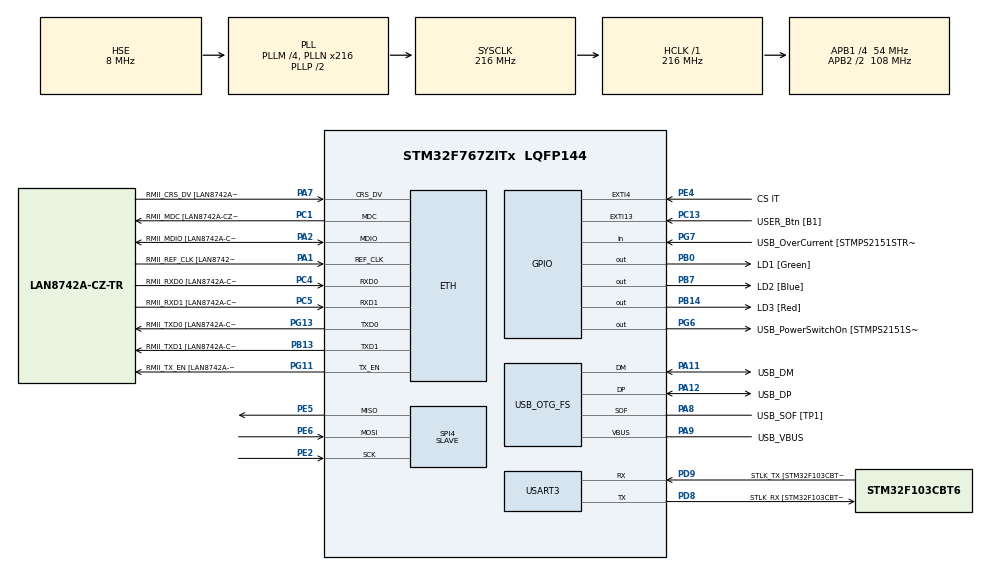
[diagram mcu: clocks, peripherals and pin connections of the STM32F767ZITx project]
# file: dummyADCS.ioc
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Dma.Request0=SPI4_RX
Dma.Request1=SPI4_TX
Dma.SPI4_RX.0.Direction=DMA_PERIPH_TO_MEMORY
Dma.SPI4_RX.0.FIFOMode=DMA_FIFOMODE_DISABLE
Dma.SPI4_RX.0.Instance=DMA2_Stream0
Dma.SPI4_RX.0.MemDataAlignment=DMA_MDATAALIGN_BYTE
Dma.SPI4_RX.0.MemInc=DMA_MINC_ENABLE
Dma.SPI4_RX.0.Mode=DMA_NORMAL
Dma.SPI4_RX.0.PeriphDataAlignment=DMA_PDATAALIGN_BYTE
Dma.SPI4_RX.0.PeriphInc=DMA_PINC_DISABLE
Dma.SPI4_RX.0.Priority=DMA_PRIORITY_HIGH
Dma.SPI4_TX.1.Direction=DMA_MEMORY_TO_PERIPH
Dma.SPI4_TX.1.FIFOMode=DMA_FIFOMODE_DISABLE
Dma.SPI4_TX.1.Instance=DMA2_Stream1
Dma.SPI4_TX.1.MemDataAlignment=DMA_MDATAALIGN_BYTE
Dma.SPI4_TX.1.MemInc=DMA_MINC_ENABLE
Dma.SPI4_TX.1.Mode=DMA_NORMAL
Dma.SPI4_TX.1.PeriphDataAlignment=DMA_PDATAALIGN_BYTE
Dma.SPI4_TX.1.PeriphInc=DMA_PINC_DISABLE
Dma.SPI4_TX.1.Priority=DMA_PRIORITY_HIGH
ETH.MediaInterface=ETH_MEDIA_INTERFACE_RMII
ETH.PHY_Name=LAN8742A_PHY_ADDRESS
ETH.PHY_Value=0
ETH.PhyAddress=0
Mcu.Family=STM32F7
Mcu.Name=STM32F767ZITx
Mcu.Package=LQFP144
NVIC.DMA2_Stream0_IRQn=true\:0\:0\:false\:false\:true\:false\:true
NVIC.DMA2_Stream1_IRQn=true\:0\:0\:false\:false\:true\:false\:true
NVIC.EXTI4_IRQn=true\:0\:0\:false\:false\:true\:true\:true
NVIC.PriorityGroup=NVIC_PRIORITYGROUP_4
NVIC.SPI4_IRQn=true\:0\:0\:false\:false\:true\:true\:true
NVIC.TIM8_TRG_COM_TIM14_IRQn=true\:0\:0\:false\:false\:true\:true\:true
NVIC.USART3_IRQn=true\:0\:0\:false\:false\:true\:true\:true
PA1.GPIO_Label=RMII_REF_CLK [LAN8742A-CZ-TR_REFCLK0]
PA1.Mode=RMII
PA1.Signal=ETH_REF_CLK
PA10.GPIO_Label=USB_ID
PA10.Signal=USB_OTG_FS_ID
PA11.GPIO_Label=USB_DM
PA11.Mode=Device_Only
PA11.Signal=USB_OTG_FS_DM
PA12.GPIO_Label=USB_DP
PA12.Mode=Device_Only
PA12.Signal=USB_OTG_FS_DP
PA13.GPIO_Label=TMS
PA13.Mode=Serial_Wire
PA13.Signal=SYS_JTMS-SWDIO
PA14.GPIO_Label=TCK
PA14.Mode=Serial_Wire
PA14.Signal=SYS_JTCK-SWCLK
PA2.GPIO_Label=RMII_MDIO [LAN8742A-CZ-TR_MDIO]
PA2.Mode=RMII
PA2.Signal=ETH_MDIO
PA7.GPIO_Label=RMII_CRS_DV [LAN8742A-CZ-TR_CRS_DV]
PA7.Mode=RMII
PA7.Signal=ETH_CRS_DV
PA8.GPIO_Label=USB_SOF [TP1]
PA8.Mode=Activate_SOF_FS
PA8.Signal=USB_OTG_FS_SOF
PA9.GPIO_Label=USB_VBUS
PA9.Mode=Activate_VBUS
PA9.Signal=USB_OTG_FS_VBUS
PB0.GPIO_Label=LD1 [Green]
PB0.Signal=GPIO_Output
PB13.GPIO_Label=RMII_TXD1 [LAN8742A-CZ-TR_TXD1]
PB13.Mode=RMII
PB13.Signal=ETH_TXD1
PB14.GPIO_Label=LD3 [Red]
PB14.Signal=GPIO_Output
PB3.GPIO_Label=SWO
PB3.Signal=SYS_JTDO-SWO
PB7.GPIO_Label=LD2 [Blue]
PB7.Signal=GPIO_Output
PC1.GPIO_Label=RMII_MDC [LAN8742A-CZ-TR_MDC]
PC1.Mode=RMII
PC1.Signal=ETH_MDC
PC13.GPIO_Label=USER_Btn [B1]
PC13.Signal=GPXTI13
PC14/OSC32_IN.Mode=LSE-External-Oscillator
PC14/OSC32_IN.Signal=RCC_OSC32_IN
PC15/OSC32_OUT.Mode=LSE-External-Oscillator
PC15/OSC32_OUT.Signal=RCC_OSC32_OUT
PC4.GPIO_Label=RMII_RXD0 [LAN8742A-CZ-TR_RXD0]
PC4.Mode=RMII
PC4.Signal=ETH_RXD0
PC5.GPIO_Label=RMII_RXD1 [LAN8742A-CZ-TR_RXD1]
PC5.Mode=RMII
PC5.Signal=ETH_RXD1
PD8.GPIO_Label=STLK_RX [STM32F103CBT6_PA3]
PD8.Mode=Asynchronous
PD8.Signal=USART3_TX
PD9.GPIO_Label=STLK_TX [STM32F103CBT6_PA2]
PD9.Mode=Asynchronous
PD9.Signal=USART3_RX
PE2.Mode=Full_Duplex_Slave
PE2.Signal=SPI4_SCK
PE4.GPIO_Label=CS IT
PE4.GPIO_ModeDefaultEXTI=GPIO_MODE_IT_FALLING
PE4.Signal=GPXTI4
PE5.Mode=Full_Duplex_Slave
PE5.Signal=SPI4_MISO
PE6.Mode=Full_Duplex_Slave
PE6.Signal=SPI4_MOSI
PG11.GPIO_Label=RMII_TX_EN [LAN8742A-CZ-TR_TXEN]
PG11.Mode=RMII
PG11.Signal=ETH_TX_EN
PG13.GPIO_Label=RMII_TXD0 [LAN8742A-CZ-TR_TXD0]
PG13.Mode=RMII
PG13.Signal=ETH_TXD0
PG6.GPIO_Label=USB_PowerSwitchOn [STMPS2151STR_EN]
PG6.Signal=GPIO_Output
PG7.GPIO_Label=USB_OverCurrent [STMPS2151STR_FAULT]
PG7.Signal=GPIO_Input
PH0/OSC_IN.GPIO_Label=MCO [STM32F103CBT6_PA8]
PH0/OSC_IN.Mode=HSE-External-Clock-Source
PH0/OSC_IN.Signal=RCC_OSC_IN
PH1/OSC_OUT.Mode=HSE-External-Clock-Source
PH1/OSC_OUT.Signal=RCC_OSC_OUT
ProjectManager.HeapSize=0x200
ProjectManager.StackSize=0x400
ProjectManager.TargetToolchain=STM32CubeIDE
RCC.48MHZClocksFreq_Value=24000000
RCC.AHBFreq_Value=216000000
RCC.APB1CLKDivider=RCC_HCLK_DIV4
RCC.APB1Freq_Value=54000000
RCC.APB1TimFreq_Value=108000000
RCC.APB2CLKDivider=RCC_HCLK_DIV2
RCC.APB2Freq_Value=108000000
RCC.APB2TimFreq_Value=216000000
RCC.CortexFreq_Value=216000000
RCC.HCLKFreq_Value=216000000
RCC.HSE_VALUE=8000000
RCC.HSI_VALUE=16000000
RCC.PLLM=4
RCC.PLLMUL=RCC_PLL_MUL9
RCC.PLLN=216
RCC.PLLQ=9
RCC.PRESCALERUSB=RCC_USBCLKSOURCE_PLL_DIV1_5
RCC.SYSCLKFreq_VALUE=216000000
RCC.SYSCLKSource=RCC_SYSCLKSOURCE_PLLCLK
RCC.SYSCLKSourceVirtual=RCC_SYSCLKSOURCE_PLLCLK
RCC.USBFreq_Value=48000000
RCC.VCOOutputFreq_Value=432000000
SPI4.DataSize=SPI_DATASIZE_8BIT
SPI4.Direction=SPI_DIRECTION_2LINES
SPI4.FirstBit=SPI_FIRSTBIT_MSB
SPI4.Mode=SPI_MODE_SLAVE
SPI4.VirtualType=VM_SLAVE
TIM14.Period=5000 - 1
TIM14.Prescaler=10800 - 1
USART3.VirtualMode-Asynchronous=VM_ASYNC
USB_OTG_FS.VirtualMode=Device_Only
VP_TIM14_VS_ClockSourceINT.Mode=Enable_Timer
board=NUCLEO-F767ZI

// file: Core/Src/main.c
/* USER CODE BEGIN Header */
/**
  ******************************************************************************
  * @file           : main.c
  * @brief          : Main program body
  ******************************************************************************
  * @attention
  *
  * <h2><center>&copy; Copyright (c) 2022 STMicroelectronics.
  * All rights reserved.</center></h2>
  *
  * This software component is licensed by ST under BSD 3-Clause license,
  * the "License"; You may not use this file except in compliance with the
  * License. You may obtain a copy of the License at:
  *                        opensource.org/licenses/BSD-3-Clause
  *
  ******************************************************************************
  */
/* USER CODE END Header */
#include "main.h"

/* USER CODE BEGIN Includes */
#include "stdio.h"
#include "IntraSatComm.h"
#include "string.h"
#include "OBCheader.h"
/* USER CODE END Includes */

ETH_HandleTypeDef heth;

SPI_HandleTypeDef hspi4;
DMA_HandleTypeDef hdma_spi4_rx;
DMA_HandleTypeDef hdma_spi4_tx;

TIM_HandleTypeDef htim14;

UART_HandleTypeDef huart3;

PCD_HandleTypeDef hpcd_USB_OTG_FS;

/* USER CODE BEGIN PV */
int txrx, rx, tx, msgHaiya;

float Euler_target[3];
int loops;
int state_transfer;
int msg_length;

uint8_t trial[12];
uint8_t telem[12];
uint8_t transmit[12];

uint8_t transmit2[100];
uint8_t full_telem[100];

uint8_t argRet[100];

uint8_t buffer[15];

uint8_t telem_Buff[12];

deframeReturn retVal;

uint8_t id, len, cmd;
int nextLen;
/* USER CODE END PV */

void SystemClock_Config(void);
static void MX_GPIO_Init(void);
static void MX_ETH_Init(void);
static void MX_USART3_UART_Init(void);
static void MX_SPI4_Init(void);
static void MX_USB_OTG_FS_PCD_Init(void);
static void MX_DMA_Init(void);
static void MX_TIM14_Init(void);

/* USER CODE BEGIN 0 */

void clear(uint8_t *buffer, int len)
{
	for(int i = 0; i<len; i++)
	{
		buffer[i] = 0x00;
	}
};

uint8_t new[12];

void ShiftBit()
{
	unsigned char bits1 = 0, bits2 = 0;
	for(int i = 12-1; i >= 0; i--) {
	    bits2 = telem[i] & 0x03;
	    new[i] = telem[i] >> 2;
	    new[i] |= bits1 << 6;
	    bits1 = bits2;
	}
}

void BuildMessage(uint8_t cmd_id, uint8_t len, uint8_t *arg, uint8_t *buffer)
{
	PacketAssemble(ACU_BUS_ID, cmd_id, arg, len, buffer);
};

void decrypt(uint8_t *buffer)
{
	if( id != ACU_BUS_ID)
		return;

	switch(cmd)
	{
		case ACU_HANDSHAKE:

			nextLen = buffer[0] + 4 + 1 + 1 + 1 + 4;							// header 4 bytes + crc32 4 bytes + BUS ID 1 byte + MID 1 byte + LEN 1 byte
			uint8_t arg[] = {0x00};
			BuildMessage(ACU_HANDSHAKE, len, arg, transmit);
			break;

		case ACU_SETEULER:
			memcpy(&Euler_target, argRet, len);
			nextLen = 12;
			uint8_t argEulerS[] = {0x00};
			BuildMessage(ACU_SETEULER, 1, argEulerS, transmit2);
			break;

		case ACU_REQEULER:
			nextLen = 23;
			uint8_t argEulerR[12] = {};

			float num = 2.5;
			memmove(argEulerR, (unsigned char*) &num,4);
			memmove(argEulerR+4, (unsigned char*) &num,4);
			memmove(argEulerR+8, (unsigned char*) &num,4);
			BuildMessage(ACU_REQEULER, 12, argEulerR, transmit2);
			break;
	}
}

deframeReturn ParseMessage(uint8_t *buffer_arg, uint8_t *buffer_msg, uint8_t length)
{
	return PacketDisassemble(&id, &len, &cmd, buffer_arg, buffer_msg, length);;
};

void HAL_GPIO_EXTI_Callback(uint16_t GPIO_Pin)
{
    if(GPIO_Pin == CS_IT_Pin)
    {

    	if(HAL_GPIO_ReadPin(CS_IT_GPIO_Port, CS_IT_Pin) == 1)
    	{

    	}else
		if(HAL_GPIO_ReadPin(CS_IT_GPIO_Port, CS_IT_Pin) == 0)
    	{
    		if(state_transfer == 0)
    		{
    			//HAL_SPI_Receive_IT(&hspi4, telem, 12);				// Interrupt works
    			HAL_SPI_Receive_IT(&hspi4, telem, 12);
    			txrx++;

    		}else
    		if(state_transfer == 1)
    		{
    			//HAL_SPI_Transmit_DMA(&hspi4, transmit, 12);
    			HAL_SPI_Transmit_IT(&hspi4, transmit, 12);
    		}else
			if(state_transfer == 2)
			{
				//HAL_SPI_Receive_DMA(&hspi4, full_telem, nextLen);
				HAL_SPI_Receive_IT(&hspi4, full_telem, nextLen);
			}else
			if(state_transfer == 3)
			{
				//HAL_SPI_Transmit_DMA(&hspi4, transmit2, nextLen);
				HAL_SPI_Transmit_IT(&hspi4, transmit2, nextLen);
			}
    	}
    }
};

void HAL_TIM_PeriodElapsedCallback(TIM_HandleTypeDef *htim)
{
	if(htim->Instance == htim14.Instance)
	{
		HAL_GPIO_TogglePin (GPIOB, GPIO_PIN_0);
	}
};

void HAL_SPI_TxCpltCallback(SPI_HandleTypeDef *hspi)
{

	if(hspi->Instance == hspi4.Instance)
	{
		if(state_transfer == 1)
		{
			//clear(transmit,sizeof(transmit));
			state_transfer++;
		}else
		if(state_transfer == 3)
		{
			//clear(transmit2,sizeof(transmit));
			state_transfer = 0;
			nextLen = 0;
		}
	}
};

void HAL_SPI_RxCpltCallback(SPI_HandleTypeDef *hspi)
{
	if(hspi->Instance == hspi4.Instance)
	{
		if(state_transfer ==  0)
		{
			rx++;
			HAL_SPIEx_FlushRxFifo(&hspi4);
			retVal = ParseMessage(argRet, telem, sizeof(argRet));

			ShiftBit();
			if(retVal != DEFRAME_OK)
			{
				//clear(telem, sizeof(telem));
				//clear(argRet, sizeof(argRet));
				HAL_SPI_DeInit(&hspi4);
				HAL_SPI_Init(&hspi4);
				MX_SPI4_Init();
				state_transfer = 0;
				msgHaiya++;
				return;
			}
			decrypt(argRet);

			//clear(argRet, sizeof(argRet));
			//clear(telem, sizeof(telem));

			state_transfer++;

		}else
		if(state_transfer == 2)
		{
			rx++;
			HAL_SPIEx_FlushRxFifo(&hspi4);
			retVal = ParseMessage(argRet, full_telem, sizeof(argRet));

			if(retVal != DEFRAME_OK)
			{
				//clear(full_telem, sizeof(full_telem));
				//clear(argRet, sizeof(argRet));
				HAL_SPI_DeInit(&hspi4);
				HAL_SPI_Init(&hspi4);
				MX_SPI4_Init();
				state_transfer = 0;
				return;
			}

			decrypt(argRet);
			//clear(full_telem, sizeof(full_telem));
			//clear(argRet, sizeof(argRet));
			state_transfer++;
		}
	}
};

void HAL_SPI_TxRxCpltCallback(SPI_HandleTypeDef *hspi)
{
	if(hspi->Instance == hspi4.Instance)
	{
	}
};
/* USER CODE END 0 */

int main(void)
{

  /* MCU Configuration--------------------------------------------------------*/

  /* Reset of all peripherals, Initializes the Flash interface and the Systick. */
  HAL_Init();

  /* Configure the system clock */
  SystemClock_Config();

  /* USER CODE BEGIN SysInit */
  MX_DMA_Init();

  /* USER CODE END SysInit */

  /* Initialize all configured peripherals */
  MX_GPIO_Init();
  //MX_ETH_Init();
  MX_USART3_UART_Init();
  MX_SPI4_Init();
  MX_USB_OTG_FS_PCD_Init();
  MX_TIM14_Init();
  /* USER CODE BEGIN 2 */

  PacketInit();
  HAL_TIM_Base_Start_IT(&htim14);
  //HAL_SPI_Receive_DMA(&hspi4, (uint8_t*)trial, 12);
  /* USER CODE END 2 */

  /* Infinite loop */
  while (1)
  {

    /* USER CODE BEGIN 3 */
	  //loops++;
	  //HAL_Delay(2000);

	  if(telem[0] != 0x00 && loops == 0)
	  {
		  ShiftBit();
		  loops++;
	  }
  }
  /* USER CODE END 3 */
}

void SystemClock_Config(void)
{
  RCC_OscInitTypeDef RCC_OscInitStruct = {0};
  RCC_ClkInitTypeDef RCC_ClkInitStruct = {0};
  RCC_PeriphCLKInitTypeDef PeriphClkInitStruct = {0};

  /** Configure LSE Drive Capability
  */
  HAL_PWR_EnableBkUpAccess();
  /** Configure the main internal regulator output voltage
  */
  __HAL_RCC_PWR_CLK_ENABLE();
  __HAL_PWR_VOLTAGESCALING_CONFIG(PWR_REGULATOR_VOLTAGE_SCALE1);
  /** Initializes the RCC Oscillators according to the specified parameters
  * in the RCC_OscInitTypeDef structure.
  */
  RCC_OscInitStruct.OscillatorType = RCC_OSCILLATORTYPE_HSE;
  RCC_OscInitStruct.HSEState = RCC_HSE_BYPASS;
  RCC_OscInitStruct.PLL.PLLState = RCC_PLL_ON;
  RCC_OscInitStruct.PLL.PLLSource = RCC_PLLSOURCE_HSE;
  RCC_OscInitStruct.PLL.PLLM = 4;
  RCC_OscInitStruct.PLL.PLLN = 216;
  RCC_OscInitStruct.PLL.PLLP = RCC_PLLP_DIV2;
  RCC_OscInitStruct.PLL.PLLQ = 9;
  RCC_OscInitStruct.PLL.PLLR = 2;
  if (HAL_RCC_OscConfig(&RCC_OscInitStruct) != HAL_OK)
  {
    Error_Handler();
  }
  /** Activate the Over-Drive mode
  */
  if (HAL_PWREx_EnableOverDrive() != HAL_OK)
  {
    Error_Handler();
  }
  /** Initializes the CPU, AHB and APB buses clocks
  */
  RCC_ClkInitStruct.ClockType = RCC_CLOCKTYPE_HCLK|RCC_CLOCKTYPE_SYSCLK
                              |RCC_CLOCKTYPE_PCLK1|RCC_CLOCKTYPE_PCLK2;
  RCC_ClkInitStruct.SYSCLKSource = RCC_SYSCLKSOURCE_PLLCLK;
  RCC_ClkInitStruct.AHBCLKDivider = RCC_SYSCLK_DIV1;
  RCC_ClkInitStruct.APB1CLKDivider = RCC_HCLK_DIV4;
  RCC_ClkInitStruct.APB2CLKDivider = RCC_HCLK_DIV2;

  if (HAL_RCC_ClockConfig(&RCC_ClkInitStruct, FLASH_LATENCY_7) != HAL_OK)
  {
    Error_Handler();
  }
  PeriphClkInitStruct.PeriphClockSelection = RCC_PERIPHCLK_USART3|RCC_PERIPHCLK_CLK48;
  PeriphClkInitStruct.Usart3ClockSelection = RCC_USART3CLKSOURCE_PCLK1;
  PeriphClkInitStruct.Clk48ClockSelection = RCC_CLK48SOURCE_PLL;
  if (HAL_RCCEx_PeriphCLKConfig(&PeriphClkInitStruct) != HAL_OK)
  {
    Error_Handler();
  }
}

static void MX_ETH_Init(void)
{

   static uint8_t MACAddr[6];

  heth.Instance = ETH;
  heth.Init.AutoNegotiation = ETH_AUTONEGOTIATION_ENABLE;
  heth.Init.Speed = ETH_SPEED_100M;
  heth.Init.DuplexMode = ETH_MODE_FULLDUPLEX;
  heth.Init.PhyAddress = LAN8742A_PHY_ADDRESS;
  MACAddr[0] = 0x00;
  MACAddr[1] = 0x80;
  MACAddr[2] = 0xE1;
  MACAddr[3] = 0x00;
  MACAddr[4] = 0x00;
  MACAddr[5] = 0x00;
  heth.Init.MACAddr = &MACAddr[0];
  heth.Init.RxMode = ETH_RXPOLLING_MODE;
  heth.Init.ChecksumMode = ETH_CHECKSUM_BY_HARDWARE;
  heth.Init.MediaInterface = ETH_MEDIA_INTERFACE_RMII;

  if (HAL_ETH_Init(&heth) != HAL_OK)
  {
    Error_Handler();
  }

}

static void MX_SPI4_Init(void)
{

  /* SPI4 parameter configuration*/
  hspi4.Instance = SPI4;
  hspi4.Init.Mode = SPI_MODE_SLAVE;
  hspi4.Init.Direction = SPI_DIRECTION_2LINES;
  hspi4.Init.DataSize = SPI_DATASIZE_8BIT;
  hspi4.Init.CLKPolarity = SPI_POLARITY_LOW;
  hspi4.Init.CLKPhase = SPI_PHASE_1EDGE;
  hspi4.Init.NSS = SPI_NSS_SOFT;
  hspi4.Init.FirstBit = SPI_FIRSTBIT_MSB;
  hspi4.Init.TIMode = SPI_TIMODE_DISABLE;
  hspi4.Init.CRCCalculation = SPI_CRCCALCULATION_DISABLE;
  hspi4.Init.CRCPolynomial = 7;
  hspi4.Init.CRCLength = SPI_CRC_LENGTH_DATASIZE;
  hspi4.Init.NSSPMode = SPI_NSS_PULSE_DISABLE;
  if (HAL_SPI_Init(&hspi4) != HAL_OK)
  {
    Error_Handler();
  }

}

static void MX_TIM14_Init(void)
{

  htim14.Instance = TIM14;
  htim14.Init.Prescaler = 10800 - 1;
  htim14.Init.CounterMode = TIM_COUNTERMODE_UP;
  htim14.Init.Period = 5000 - 1;
  htim14.Init.ClockDivision = TIM_CLOCKDIVISION_DIV1;
  htim14.Init.AutoReloadPreload = TIM_AUTORELOAD_PRELOAD_DISABLE;
  if (HAL_TIM_Base_Init(&htim14) != HAL_OK)
  {
    Error_Handler();
  }

}

static void MX_USART3_UART_Init(void)
{

  huart3.Instance = USART3;
  huart3.Init.BaudRate = 115200;
  huart3.Init.WordLength = UART_WORDLENGTH_8B;
  huart3.Init.StopBits = UART_STOPBITS_1;
  huart3.Init.Parity = UART_PARITY_NONE;
  huart3.Init.Mode = UART_MODE_TX_RX;
  huart3.Init.HwFlowCtl = UART_HWCONTROL_NONE;
  huart3.Init.OverSampling = UART_OVERSAMPLING_16;
  huart3.Init.OneBitSampling = UART_ONE_BIT_SAMPLE_DISABLE;
  huart3.AdvancedInit.AdvFeatureInit = UART_ADVFEATURE_NO_INIT;
  if (HAL_UART_Init(&huart3) != HAL_OK)
  {
    Error_Handler();
  }

}

static void MX_USB_OTG_FS_PCD_Init(void)
{

  hpcd_USB_OTG_FS.Instance = USB_OTG_FS;
  hpcd_USB_OTG_FS.Init.dev_endpoints = 6;
  hpcd_USB_OTG_FS.Init.speed = PCD_SPEED_FULL;
  hpcd_USB_OTG_FS.Init.dma_enable = DISABLE;
  hpcd_USB_OTG_FS.Init.phy_itface = PCD_PHY_EMBEDDED;
  hpcd_USB_OTG_FS.Init.Sof_enable = ENABLE;
  hpcd_USB_OTG_FS.Init.low_power_enable = DISABLE;
  hpcd_USB_OTG_FS.Init.lpm_enable = DISABLE;
  hpcd_USB_OTG_FS.Init.vbus_sensing_enable = ENABLE;
  hpcd_USB_OTG_FS.Init.use_dedicated_ep1 = DISABLE;
  if (HAL_PCD_Init(&hpcd_USB_OTG_FS) != HAL_OK)
  {
    Error_Handler();
  }

}

static void MX_DMA_Init(void)
{

  /* DMA controller clock enable */
  __HAL_RCC_DMA2_CLK_ENABLE();

  /* DMA interrupt init */
  /* DMA2_Stream0_IRQn interrupt configuration */
  HAL_NVIC_SetPriority(DMA2_Stream0_IRQn, 0, 0);
  HAL_NVIC_EnableIRQ(DMA2_Stream0_IRQn);
  /* DMA2_Stream1_IRQn interrupt configuration */
  HAL_NVIC_SetPriority(DMA2_Stream1_IRQn, 0, 0);
  HAL_NVIC_EnableIRQ(DMA2_Stream1_IRQn);

}

static void MX_GPIO_Init(void)
{
  GPIO_InitTypeDef GPIO_InitStruct = {0};

  /* GPIO Ports Clock Enable */
  __HAL_RCC_GPIOE_CLK_ENABLE();
  __HAL_RCC_GPIOC_CLK_ENABLE();
  __HAL_RCC_GPIOH_CLK_ENABLE();
  __HAL_RCC_GPIOA_CLK_ENABLE();
  __HAL_RCC_GPIOB_CLK_ENABLE();
  __HAL_RCC_GPIOD_CLK_ENABLE();
  __HAL_RCC_GPIOG_CLK_ENABLE();

  /*Configure GPIO pin Output Level */
  HAL_GPIO_WritePin(GPIOB, LD1_Pin|LD3_Pin|LD2_Pin, GPIO_PIN_RESET);

  /*Configure GPIO pin Output Level */
  HAL_GPIO_WritePin(USB_PowerSwitchOn_GPIO_Port, USB_PowerSwitchOn_Pin, GPIO_PIN_RESET);

  /*Configure GPIO pin : CS_IT_Pin */
  GPIO_InitStruct.Pin = CS_IT_Pin;
  GPIO_InitStruct.Mode = GPIO_MODE_IT_FALLING;
  GPIO_InitStruct.Pull = GPIO_NOPULL;
  HAL_GPIO_Init(CS_IT_GPIO_Port, &GPIO_InitStruct);

  /*Configure GPIO pin : USER_Btn_Pin */
  GPIO_InitStruct.Pin = USER_Btn_Pin;
  GPIO_InitStruct.Mode = GPIO_MODE_IT_RISING;
  GPIO_InitStruct.Pull = GPIO_NOPULL;
  HAL_GPIO_Init(USER_Btn_GPIO_Port, &GPIO_InitStruct);

  /*Configure GPIO pins : LD1_Pin LD3_Pin LD2_Pin */
  GPIO_InitStruct.Pin = LD1_Pin|LD3_Pin|LD2_Pin;
  GPIO_InitStruct.Mode = GPIO_MODE_OUTPUT_PP;
  GPIO_InitStruct.Pull = GPIO_NOPULL;
  GPIO_InitStruct.Speed = GPIO_SPEED_FREQ_LOW;
  HAL_GPIO_Init(GPIOB, &GPIO_InitStruct);

  /*Configure GPIO pin : USB_PowerSwitchOn_Pin */
  GPIO_InitStruct.Pin = USB_PowerSwitchOn_Pin;
  GPIO_InitStruct.Mode = GPIO_MODE_OUTPUT_PP;
  GPIO_InitStruct.Pull = GPIO_NOPULL;
  GPIO_InitStruct.Speed = GPIO_SPEED_FREQ_LOW;
  HAL_GPIO_Init(USB_PowerSwitchOn_GPIO_Port, &GPIO_InitStruct);

  /*Configure GPIO pin : USB_OverCurrent_Pin */
  GPIO_InitStruct.Pin = USB_OverCurrent_Pin;
  GPIO_InitStruct.Mode = GPIO_MODE_INPUT;
  GPIO_InitStruct.Pull = GPIO_NOPULL;
  HAL_GPIO_Init(USB_OverCurrent_GPIO_Port, &GPIO_InitStruct);

  /* EXTI interrupt init*/
  HAL_NVIC_SetPriority(EXTI4_IRQn, 0, 0);
  HAL_NVIC_EnableIRQ(EXTI4_IRQn);

}

void Error_Handler(void)
{
  __disable_irq();
  while (1)
  {
  }
}

/************************ (C) COPYRIGHT STMicroelectronics *****END OF FILE****/
